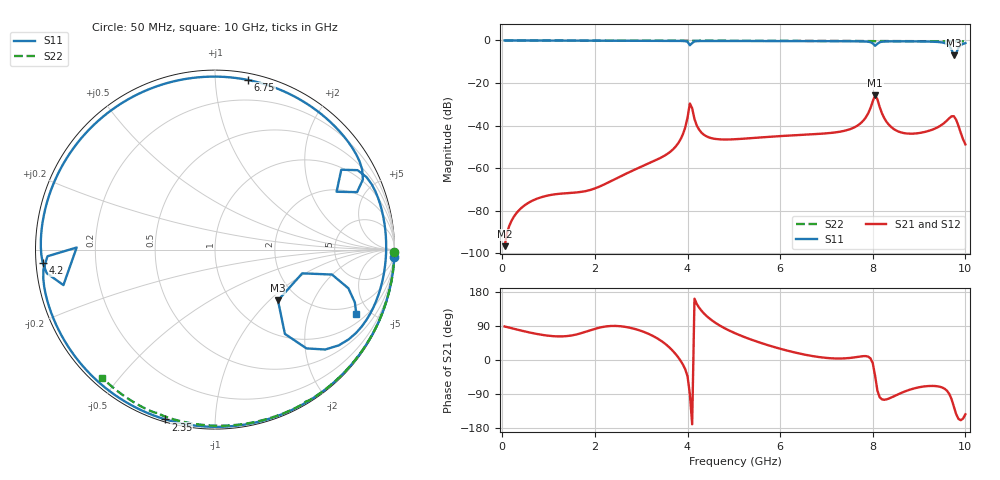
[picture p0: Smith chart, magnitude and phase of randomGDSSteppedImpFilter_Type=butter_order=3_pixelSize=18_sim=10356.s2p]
! freq	dB(S11)	phase(S11)	dB(S12)	phase(S12)
!  dB(S21)	phase(S21)	dB(S22)	phase(S22)
!S-par simulation data
#  GHz  S  DB  R 50
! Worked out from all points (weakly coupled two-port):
!   200 points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, 50 MHz to 10 GHz, reference 50 ohm
!   highest |S21| = -25.80 dB at 8.05 GHz (marker M1); lowest = -96.6 dB at 50 MHz (marker M2)
!   lowest |S11| = -6.9 dB at 9.75 GHz (marker M3), VSWR 2.64, Z = 79.4 - j56.4 ohm
!   |S11| at or under -10 dB: nowhere
!   |S22| runs from -0.4 to 0.0 dB; largest |S21 - S12| = 0
!   S11 on the Smith chart (normalised r, x): 50 MHz: 0, -47; 2.35 GHz: 0.01, -0.75; 4.2 GHz: 0.02, -0.04; 6.75 GHz: 0.05, +1.21; 10 GHz: 1.42, -4.12
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0.05  -0.00 -2.4  -96.64 88.5  -96.64 88.5  -0.00 -0.8
1  -0.06 -47.2  -72.77 64.0  -72.77 64.0  -0.02 -15.1
1.75  -0.10 -80.8  -70.97 72.6  -70.97 72.6  -0.03 -26.2
2.35  -0.13 -106.3  -66.06 89.8  -66.06 89.8  -0.04 -35.0
3.4  -0.17 -148.8  -55.35 53.0  -55.35 53.0  -0.07 -49.9
3.85  -0.23 -167.8  -46.41 -2.0  -46.41 -2.0  -0.08 -56.2
4.05  -2.26 179.1  -29.61 -89.7  -29.61 -89.7  -0.12 -59.0
4.1  -1.24 -166.8  -31.82 -169.6  -31.82 -169.6  -0.11 -59.4
4.2  -0.33 -175.6  -39.97 147.9  -39.97 147.9  -0.09 -60.8
4.45  -0.24 172.5  -45.43 112.0  -45.43 112.0  -0.09 -64.2
5.05  -0.26 148.3  -46.37 69.4  -46.37 69.4  -0.11 -72.2
6.7  -0.33 81.0  -44.07 10.3  -44.07 10.3  -0.18 -93.1
6.75  -0.33 78.9  -44.01 9.3  -44.01 9.3  -0.18 -93.7
7.65  -0.39 41.0  -40.26 7.8  -40.26 7.8  -0.24 -104.5
7.85  -0.50 31.4  -36.13 10.2  -36.13 10.2  -0.26 -106.9
8.05  -2.50 25.4  -25.80 -41.5  -25.80 -41.5  -0.35 -109.1
8.35  -0.42 17.5  -39.64 -101.6  -39.64 -101.6  -0.29 -112.5
8.9  -0.43 -5.4  -43.74 -74.7  -43.74 -74.7  -0.33 -118.9
9.6  -1.63 -42.2  -37.65 -80.8  -37.65 -80.8  -0.40 -126.9
9.75  -6.92 -38.9  -35.58 -122.3  -35.58 -122.3  -0.41 -128.6
9.85  -3.53 -12.0  -40.12 -155.3  -40.12 -155.3  -0.42 -129.7
10  -1.25 -24.6  -48.82 -143.3  -48.82 -143.3  -0.44 -131.4
